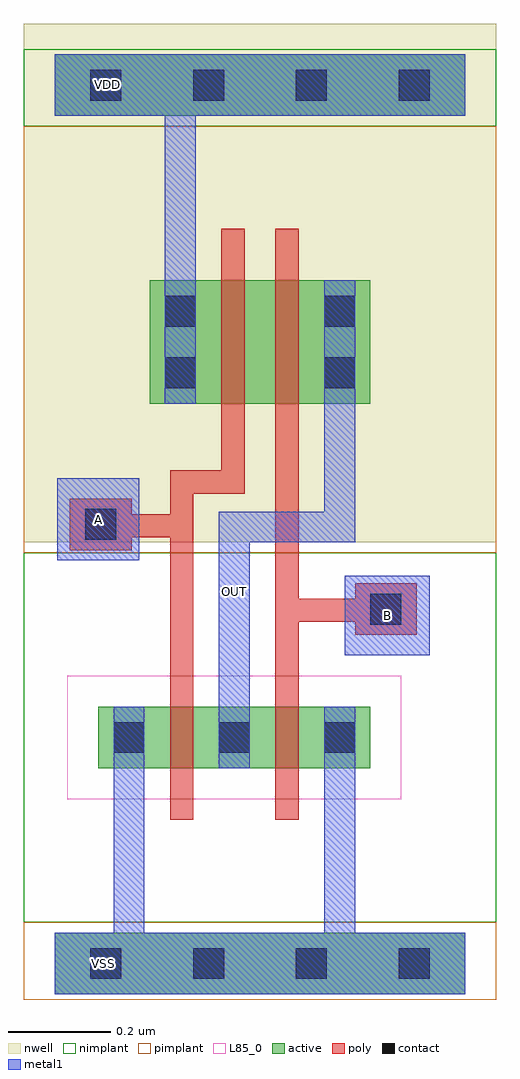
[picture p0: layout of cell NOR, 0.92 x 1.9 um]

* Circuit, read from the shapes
.subckt NOR A B OUT VDD VSS
M1 OUT A VSS VSS nfet w=0.12u l=0.045u
M2 VSS B OUT VSS nfet w=0.12u l=0.045u
M3 pmos1v_CDNS_4_2/D_drain_1 A VDD VDD pfet w=0.24u l=0.045u
M4 OUT B pmos1v_CDNS_4_2/D_drain_1 VDD pfet w=0.24u l=0.045u
.ends

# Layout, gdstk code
import gdstk
lib = gdstk.Library(unit=1e-6, precision=5e-10)
def R(c, l, rs):  # rectangles x0, y0, x1, y1
    for r in rs: c.add(gdstk.rectangle(r[:2], r[2:], *l))
def A(c, l, x, y, w, h, nx, ny, dx, dy):  # array of equal rectangles
    R(c, l, [(x+i*dx, y+j*dy, x+i*dx+w, y+j*dy+h) for i in range(nx) for j in range(ny)])
active = (1, 0)
nwell = (2, 0)
poly = (3, 0)
nimplant = (4, 0)
pimplant = (5, 0)
contact = (6, 0)
metal1 = (7, 0)
L85_0 = (85, 0)

nmos1v_cdns_2 = lib.new_cell('nmos1v_CDNS_2')
R(nmos1v_cdns_2, active, [(-0.11,0,0,0.12), (0,0,0.045,0.12), (0.045,0,0.185,0.12)])
R(nmos1v_cdns_2, poly, [(0,-0.1,0.045,-0.05), (0,-0.05,0.045,0), (0,0,0.045,0.12), (0,0.12,0.045,0.17), (0,0.17,0.045,0.22)])
R(nmos1v_cdns_2, nimplant, [(-0.1,-0.1,0.145,0.22), (-0.18,-0.07,0.255,0.19)])
R(nmos1v_cdns_2, contact, [(-0.11,0.03,-0.05,0.09), (0.095,0.03,0.155,0.09)])
R(nmos1v_cdns_2, metal1, [(-0.11,0,-0.05,0.12), (0.095,0,0.155,0.12)])
R(nmos1v_cdns_2, L85_0, [(-0.17,-0.06,0.245,0.18)])
nmos1v_cdns_2.add(gdstk.Label('S_source_1', (0.115,0.06), layer=1, texttype=0))
nmos1v_cdns_2.add(gdstk.Label('D_drain_0', (-0.055,0.06), layer=1, texttype=0))
nmos1v_cdns_2.add(gdstk.Label('G_gate_1', (0.0225,-0.075), layer=3, texttype=0))
nmos1v_cdns_2.add(gdstk.Label('G_gate_1', (0.0225,0.195), layer=3, texttype=0))
nmos1v_cdns_2.add(gdstk.Label('S_source_1', (0.125,0.06), layer=7, texttype=0))
nmos1v_cdns_2.add(gdstk.Label('D_drain_0', (-0.08,0.06), layer=7, texttype=0))
nmos1v_cdns_2.add(gdstk.Label('B', (0.0375,0.06), layer=85, texttype=0))

pmos1v_cdns_3 = lib.new_cell('pmos1v_CDNS_3')
R(pmos1v_cdns_3, active, [(-0.03,0,0,0.24), (0,0,0.045,0.24), (0.045,0,0.185,0.24)])
R(pmos1v_cdns_3, nwell, [(-0.09,-0.06,0.245,0.3)])
R(pmos1v_cdns_3, poly, [(0,-0.1,0.045,-0.05), (0,-0.05,0.045,0), (0,0,0.045,0.24), (0,0.24,0.045,0.29), (0,0.29,0.045,0.34)])
R(pmos1v_cdns_3, pimplant, [(-0.1,-0.1,0.145,0.34), (-0.1,-0.07,0.255,0.31)])
R(pmos1v_cdns_3, contact, [(0.095,0.03,0.155,0.09), (0.095,0.15,0.155,0.21)])
R(pmos1v_cdns_3, metal1, [(0.095,0,0.155,0.24)])
pmos1v_cdns_3.add(gdstk.Label('D_drain_1', (0.115,0.12), layer=1, texttype=0))
pmos1v_cdns_3.add(gdstk.Label('S_source_0', (-0.015,0.12), layer=1, texttype=0))
pmos1v_cdns_3.add(gdstk.Label('G_gate_1', (0.0225,-0.075), layer=3, texttype=0))
pmos1v_cdns_3.add(gdstk.Label('G_gate_1', (0.0225,0.315), layer=3, texttype=0))
pmos1v_cdns_3.add(gdstk.Label('D_drain_1', (0.125,0.12), layer=7, texttype=0))
pmos1v_cdns_3.add(gdstk.Label('B', (0.0775,0.12), layer=2, texttype=0))

pmos1v_cdns_4 = lib.new_cell('pmos1v_CDNS_4')
R(pmos1v_cdns_4, active, [(-0.14,0,0,0.24), (0,0,0.045,0.24), (0.045,0,0.075,0.24)])
R(pmos1v_cdns_4, nwell, [(-0.2,-0.06,0.135,0.3)])
R(pmos1v_cdns_4, poly, [(0,-0.1,0.045,-0.05), (0,-0.05,0.045,0), (0,0,0.045,0.24), (0,0.24,0.045,0.29), (0,0.29,0.045,0.34)])
R(pmos1v_cdns_4, pimplant, [(-0.1,-0.1,0.145,0.34), (-0.21,-0.07,0.145,0.31)])
R(pmos1v_cdns_4, contact, [(-0.11,0.03,-0.05,0.09), (-0.11,0.15,-0.05,0.21)])
R(pmos1v_cdns_4, metal1, [(-0.11,0,-0.05,0.24)])
pmos1v_cdns_4.add(gdstk.Label('D_drain_1', (0.06,0.12), layer=1, texttype=0))
pmos1v_cdns_4.add(gdstk.Label('S_source_0', (-0.07,0.12), layer=1, texttype=0))
pmos1v_cdns_4.add(gdstk.Label('G_gate_1', (0.0225,-0.075), layer=3, texttype=0))
pmos1v_cdns_4.add(gdstk.Label('G_gate_1', (0.0225,0.315), layer=3, texttype=0))
pmos1v_cdns_4.add(gdstk.Label('S_source_0', (-0.08,0.12), layer=7, texttype=0))
pmos1v_cdns_4.add(gdstk.Label('B', (-0.0325,0.12), layer=2, texttype=0))

nmos1v_cdns_5 = lib.new_cell('nmos1v_CDNS_5')
R(nmos1v_cdns_5, active, [(-0.14,0,0,0.12), (0,0,0.045,0.12), (0.045,0,0.095,0.12)])
R(nmos1v_cdns_5, poly, [(0,-0.1,0.045,-0.05), (0,-0.05,0.045,0), (0,0,0.045,0.12), (0,0.12,0.045,0.17), (0,0.17,0.045,0.22)])
R(nmos1v_cdns_5, nimplant, [(-0.1,-0.1,0.145,0.22), (-0.21,-0.07,0.165,0.19)])
R(nmos1v_cdns_5, contact, [(-0.11,0.03,-0.05,0.09)])
R(nmos1v_cdns_5, metal1, [(-0.11,0,-0.05,0.12)])
R(nmos1v_cdns_5, L85_0, [(-0.2,-0.06,0.155,0.18)])
nmos1v_cdns_5.add(gdstk.Label('D_drain_1', (0.07,0.06), layer=1, texttype=0))
nmos1v_cdns_5.add(gdstk.Label('S_source_0', (-0.07,0.06), layer=1, texttype=0))
nmos1v_cdns_5.add(gdstk.Label('G_gate_1', (0.0225,-0.075), layer=3, texttype=0))
nmos1v_cdns_5.add(gdstk.Label('G_gate_1', (0.0225,0.195), layer=3, texttype=0))
nmos1v_cdns_5.add(gdstk.Label('S_source_0', (-0.08,0.06), layer=7, texttype=0))
nmos1v_cdns_5.add(gdstk.Label('B', (-0.0225,0.06), layer=85, texttype=0))

m1_po_cdns_1 = lib.new_cell('M1_PO_CDNS_1')
R(m1_po_cdns_1, poly, [(-0.06,-0.0475,0.06,0.0525)])
R(m1_po_cdns_1, contact, [(-0.03,-0.0275,0.03,0.0325)])
R(m1_po_cdns_1, metal1, [(-0.03,-0.0575,0.03,0.0625)])

nor = lib.new_cell('NOR')
R(nor, active, [(2.78,-2.41,3.58,-2.29), (2.78,-0.7,3.58,-0.58)])
R(nor, nwell, [(2.72,-1.53,3.64,-0.52)])
R(nor, nimplant, [(2.72,-2.27,3.64,-1.55), (2.72,-0.72,3.64,-0.57)])
R(nor, pimplant, [(2.72,-2.42,3.64,-2.27), (2.72,-1.55,3.64,-0.72)])
A(nor, contact, 2.85, -2.38, 0.06, 0.06, 4, 2, 0.2, 1.71)
R(nor, metal1, [(2.78,-2.41,3.58,-2.29), (2.82,-2.4025,2.93,-2.2975), (3.345,-1.75,3.51,-1.595), (3.1,-1.655,3.16,-1.595), (2.785,-1.565,2.945,-1.405), (2.78,-0.7,3.58,-0.58), (2.83,-0.69,2.935,-0.5875)])
nor.add(gdstk.FlexPath([(3.025,-1.02),(3.025,-0.7)], 0.06, ends="flush", simple_path=True, layer=7, datatype=0))  # metal1
nor.add(gdstk.FlexPath([(3.335,-1.26),(3.335,-1.5)], 0.06, ends=(0, 0.03), simple_path=True, layer=7, datatype=0))  # metal1
nor.add(gdstk.FlexPath([(3.335,-1.5),(3.13,-1.5)], 0.06, ends="extended", simple_path=True, layer=7, datatype=0))  # metal1
nor.add(gdstk.FlexPath([(3.13,-1.5),(3.13,-1.85)], 0.06, ends=(0.03, 0), simple_path=True, layer=7, datatype=0))  # metal1
nor.add(gdstk.FlexPath([(3.335,-1.97),(3.335,-2.29)], 0.06, ends="flush", simple_path=True, layer=7, datatype=0))  # metal1
nor.add(gdstk.FlexPath([(2.925,-1.97),(2.925,-2.29)], 0.06, ends="flush", simple_path=True, layer=7, datatype=0))  # metal1
nor.add(gdstk.FlexPath([(3.0275,-1.4125),(3.1275,-1.4125)], 0.045, ends="extended", simple_path=True, layer=3, datatype=0))  # poly
nor.add(gdstk.FlexPath([(3.2325,-1.6625),(3.2325,-1.75)], 0.045, ends=(0.0225, 0), simple_path=True, layer=3, datatype=0))  # poly
nor.add(gdstk.FlexPath([(3.2325,-1.6625),(3.425,-1.6625)], 0.045, ends=(0.0225, 0), simple_path=True, layer=3, datatype=0))  # poly
nor.add(gdstk.FlexPath([(3.0275,-1.4975),(2.87,-1.4975)], 0.045, ends=(0.0225, 0), simple_path=True, layer=3, datatype=0))  # poly
nor.add(gdstk.FlexPath([(3.2325,-1.36),(3.2325,-1.6625)], 0.045, ends=(0, 0.0225), simple_path=True, layer=3, datatype=0))  # poly
nor.add(gdstk.FlexPath([(3.0275,-1.75),(3.0275,-1.4975)], 0.045, ends=(0, 0.0225), simple_path=True, layer=3, datatype=0))  # poly
nor.add(gdstk.FlexPath([(3.1275,-1.4125),(3.1275,-1.36)], 0.045, ends=(0.0225, 0), simple_path=True, layer=3, datatype=0))  # poly
nor.add(gdstk.FlexPath([(3.0275,-1.4975),(3.0275,-1.4125)], 0.045, ends="extended", simple_path=True, layer=3, datatype=0))  # poly
nor.add(gdstk.Reference(nmos1v_cdns_2, (3.21,-1.97)))
nor.add(gdstk.Reference(pmos1v_cdns_3, (3.21,-1.26)))
nor.add(gdstk.Reference(pmos1v_cdns_4, (3.105,-1.26)))
nor.add(gdstk.Reference(nmos1v_cdns_5, (3.005,-1.97)))
nor.add(gdstk.Reference(m1_po_cdns_1, (2.87,-1.4975)))
nor.add(gdstk.Reference(m1_po_cdns_1, (3.425,-1.6625)))
nor.add(gdstk.Label('OUT', (3.13,-1.625), layer=7, texttype=0))
nor.add(gdstk.Label('VSS', (2.875,-2.35), layer=7, texttype=0))
nor.add(gdstk.Label('VDD', (2.8825,-0.6385), layer=7, texttype=0))
nor.add(gdstk.Label('B', (3.4275,-1.6725), layer=7, texttype=0))
nor.add(gdstk.Label('A', (2.865,-1.485), layer=7, texttype=0))

lib.write_gds('NOR.gds')
